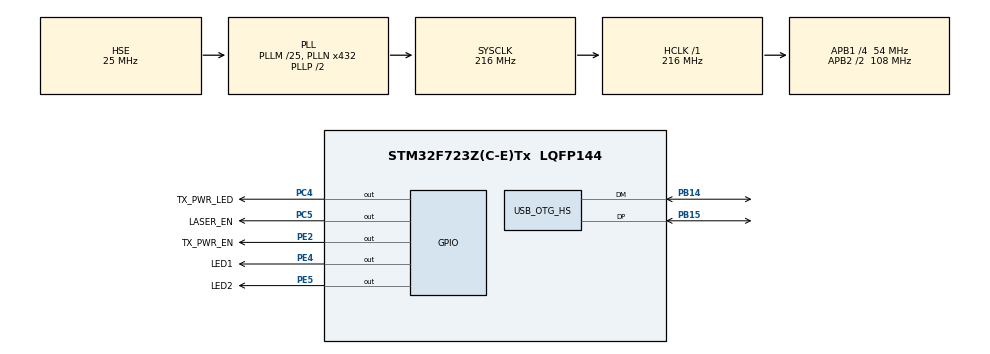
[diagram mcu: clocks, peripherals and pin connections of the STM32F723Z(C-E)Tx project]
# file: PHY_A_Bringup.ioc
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CORTEX_M7.default_mode_Activation=1
Mcu.Family=STM32F7
Mcu.Name=STM32F723Z(C-E)Tx
Mcu.Package=LQFP144
NVIC.OTG_HS_IRQn=true\:0\:0\:false\:false\:true\:true\:true\:true
NVIC.PriorityGroup=NVIC_PRIORITYGROUP_4
PA13.Mode=Serial_Wire
PA13.Signal=SYS_JTMS-SWDIO
PA14.Mode=Serial_Wire
PA14.Signal=SYS_JTCK-SWCLK
PB14.Mode=Internal_Phy_Device
PB14.Signal=USB_OTG_HS_DM
PB15.Mode=Internal_Phy_Device
PB15.Signal=USB_OTG_HS_DP
PC4.GPIO_Label=TX_PWR_LED
PC4.Signal=GPIO_Output
PC5.GPIO_Label=LASER_EN
PC5.Signal=GPIO_Output
PE2.GPIO_Label=TX_PWR_EN
PE2.Signal=GPIO_Output
PE4.GPIO_Label=LED1
PE4.Signal=GPIO_Output
PE5.GPIO_Label=LED2
PE5.Signal=GPIO_Output
PH0-OSC_IN.Mode=HSE-External-Oscillator
PH0-OSC_IN.Signal=RCC_OSC_IN
PH1-OSC_OUT.Mode=HSE-External-Oscillator
PH1-OSC_OUT.Signal=RCC_OSC_OUT
ProjectManager.HeapSize=0x200
ProjectManager.StackSize=0x400
ProjectManager.TargetToolchain=STM32CubeIDE
RCC.AHBFreq_Value=216000000
RCC.APB1CLKDivider=RCC_HCLK_DIV4
RCC.APB1Freq_Value=54000000
RCC.APB1TimFreq_Value=108000000
RCC.APB2CLKDivider=RCC_HCLK_DIV2
RCC.APB2Freq_Value=108000000
RCC.APB2TimFreq_Value=216000000
RCC.CortexFreq_Value=216000000
RCC.HCLKFreq_Value=216000000
RCC.HSE_VALUE=25000000
RCC.HSI_VALUE=16000000
RCC.LSE_VALUE=32768
RCC.PLLM=25
RCC.PLLN=432
RCC.PLLQ=9
RCC.SYSCLKFreq_VALUE=216000000
RCC.SYSCLKSource=RCC_SYSCLKSOURCE_PLLCLK
RCC.USBFreq_Value=48000000
RCC.VCOOutputFreq_Value=432000000
REXTPHYHS.Mode=Internal_Phy_Device
REXTPHYHS.Signal=USB_OTG_HS_REXTPHYHS
USB_DEVICE.CLASS_NAME_HS=CDC
USB_DEVICE.USBD_LPM_ENABLED-CDC_HS=0
USB_DEVICE.USBD_SELF_POWERED-CDC_HS=0
USB_DEVICE.VirtualMode-CDC_HS=Cdc
USB_DEVICE.VirtualModeHS=Cdc_HS
USB_OTG_HS.VirtualMode=Int_Phy_Device
VP_USB_DEVICE_VS_USB_DEVICE_CDC_HS.Mode=CDC_HS
board=custom

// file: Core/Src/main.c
/* USER CODE BEGIN Header */
/**
 ******************************************************************************
 * @file           : main.c
 * @brief          : Main program body
 ******************************************************************************
 * @attention
 *
 * Copyright (c) 2026 STMicroelectronics.
 * All rights reserved.
 *
 * This software is licensed under terms that can be found in the LICENSE file
 * in the root directory of this software component.
 * If no LICENSE file comes with this software, it is provided AS-IS.
 *
 ******************************************************************************
 */
/* USER CODE END Header */
#include "main.h"
#include "usb_device.h"

void SystemClock_Config(void);
static void MPU_Config(void);
static void MX_GPIO_Init(void);

/* USER CODE BEGIN 0 */

volatile uint8_t arm_dryrun_request = 0U; /* 1 = pulse, 2 = force off */
volatile uint8_t optical_tx_active = 0U;
static uint8_t arm_dryrun_active = 0U;
static uint32_t arm_dryrun_started_ms = 0U;
#define ARM_DRYRUN_PULSE_MS 500U

static void ArmDryRun_Off(void)
{
  HAL_GPIO_WritePin(LASER_EN_GPIO_Port, LASER_EN_Pin, GPIO_PIN_RESET);
  arm_dryrun_active = 0U;
}

static uint8_t power_dryrun_active = 0U;
static uint32_t power_dryrun_started_ms = 0U;
#define POWER_DRYRUN_PULSE_MS 5000U

volatile uint8_t dummy_test_active = 0U;
static uint8_t dummy_phase = 0U;
static uint32_t dummy_phase_ms = 0U;
static uint32_t dummy_start_ms = 0U;

static void DummyTest_Off(void)
{
  HAL_GPIO_WritePin(GPIOA, GPIO_PIN_7, GPIO_PIN_RESET);
  HAL_GPIO_WritePin(LED2_GPIO_Port, LED2_Pin, GPIO_PIN_RESET);
  HAL_GPIO_WritePin(LASER_EN_GPIO_Port, LASER_EN_Pin, GPIO_PIN_RESET);
  HAL_GPIO_WritePin(TX_PWR_EN_GPIO_Port, TX_PWR_EN_Pin, GPIO_PIN_RESET);
  HAL_GPIO_WritePin(TX_PWR_LED_GPIO_Port, TX_PWR_LED_Pin, GPIO_PIN_RESET);

  arm_dryrun_active = 0U;
  power_dryrun_active = 0U;
  dummy_phase = 0U;
  dummy_test_active = 0U;
}
static void ArmDryRun_Task(void)
{
  if (optical_tx_active) {
    arm_dryrun_request = 0U;
    return;
}
  uint8_t request;

  __disable_irq();
  request = arm_dryrun_request;
  arm_dryrun_request = 0U;
  __enable_irq();

  uint32_t now = HAL_GetTick();

  /* B6 / B8: software shutdown */
  if (request == 2U || request == 4U) {
    DummyTest_Off();
    return;
  }

  /* Execute the timed dummy-load test */
  if (dummy_test_active) {
    /* Overall timeout */
    if ((uint32_t)(now - dummy_start_ms) >= 1800U) {
      DummyTest_Off();
      return;
    }

    if (dummy_phase == 1U &&
        (uint32_t)(now - dummy_phase_ms) >= 250U) {
      /* Power settled: arm TX-A */
      HAL_GPIO_WritePin(
          LASER_EN_GPIO_Port, LASER_EN_Pin, GPIO_PIN_SET);
      dummy_phase = 2U;
      dummy_phase_ms = now;
    }
    else if (dummy_phase == 2U &&
             (uint32_t)(now - dummy_phase_ms) >= 100U) {
      /* Assert modulation for one second */
      HAL_GPIO_WritePin(GPIOA, GPIO_PIN_7, GPIO_PIN_SET);
      HAL_GPIO_WritePin(
          LED2_GPIO_Port, LED2_Pin, GPIO_PIN_SET);
      dummy_phase = 3U;
      dummy_phase_ms = now;
    }
    else if (dummy_phase == 3U &&
             (uint32_t)(now - dummy_phase_ms) >= 1000U) {
      DummyTest_Off();
    }

    return;
  }

  /* B9: begin single-shot dummy-load test */
  if (request == 5U) {
    arm_dryrun_active = 0U;
    power_dryrun_active = 0U;

    HAL_GPIO_WritePin(
        LASER_EN_GPIO_Port, LASER_EN_Pin, GPIO_PIN_RESET);
    HAL_GPIO_WritePin(GPIOA, GPIO_PIN_7, GPIO_PIN_RESET);
    HAL_GPIO_WritePin(
        LED2_GPIO_Port, LED2_Pin, GPIO_PIN_RESET);

    dummy_test_active = 1U;
    dummy_phase = 1U;
    dummy_phase_ms = now;
    dummy_start_ms = now;

    HAL_GPIO_WritePin(
        TX_PWR_EN_GPIO_Port, TX_PWR_EN_Pin, GPIO_PIN_SET);
    HAL_GPIO_WritePin(
        TX_PWR_LED_GPIO_Port, TX_PWR_LED_Pin, GPIO_PIN_SET);
    return;
  }

  /* B6 or B8: turn both controls off */
  if (request == 2U || request == 4U) {
    power_dryrun_active = 0U;
    ArmDryRun_Off();
  }

  /* B7: start the switched-power test */
  if (request == 3U) {
    ArmDryRun_Off();  // PC5 LOW
    HAL_GPIO_WritePin(GPIOA, GPIO_PIN_7, GPIO_PIN_RESET);

    power_dryrun_started_ms = now;
    power_dryrun_active = 1U;
  }

  /* Automatically end the power pulse */
  if (power_dryrun_active &&
      (uint32_t)(now - power_dryrun_started_ms)
          >= POWER_DRYRUN_PULSE_MS) {
    power_dryrun_active = 0U;
  }

  if (power_dryrun_active) {
    ArmDryRun_Off();
    HAL_GPIO_WritePin(GPIOA, GPIO_PIN_7, GPIO_PIN_RESET);

    HAL_GPIO_WritePin(
        TX_PWR_EN_GPIO_Port, TX_PWR_EN_Pin, GPIO_PIN_SET);
    HAL_GPIO_WritePin(
        TX_PWR_LED_GPIO_Port, TX_PWR_LED_Pin, GPIO_PIN_SET);
    return;
  }

  /* Default: TX power OFF */
  HAL_GPIO_WritePin(
      TX_PWR_EN_GPIO_Port, TX_PWR_EN_Pin, GPIO_PIN_RESET);
  HAL_GPIO_WritePin(
      TX_PWR_LED_GPIO_Port, TX_PWR_LED_Pin, GPIO_PIN_RESET);

  /* Preserve the existing PC5 dry-run command */
  if (request == 1U) {
    arm_dryrun_started_ms = now;
    arm_dryrun_active = 1U;
    HAL_GPIO_WritePin(
        LASER_EN_GPIO_Port, LASER_EN_Pin, GPIO_PIN_SET);
  }

  if (arm_dryrun_active &&
      (uint32_t)(now - arm_dryrun_started_ms)
          >= ARM_DRYRUN_PULSE_MS) {
    ArmDryRun_Off();
  }
}

#define PATTERN_DEMO_BIT_MS 200U
#define PATTERN_DEMO_MAX_BYTES 24U
#define PATTERN_DEMO_MAX_MS (PATTERN_DEMO_MAX_BYTES * 8U * PATTERN_DEMO_BIT_MS + 500U)

extern volatile uint8_t optical_tx_active;
volatile uint8_t pattern_demo_request = 0U; /* 1=HELLO, 2=stop, 3=payload */
volatile uint8_t pattern_demo_pending_len = 0U;
uint8_t pattern_demo_pending[PATTERN_DEMO_MAX_BYTES];

static uint8_t pattern_demo_text[PATTERN_DEMO_MAX_BYTES];
static uint8_t pattern_demo_text_len = 0U;
static uint8_t pattern_demo_active = 0U;
static uint32_t pattern_demo_bit = 0U;
static uint32_t pattern_demo_start_ms = 0U;
static uint32_t pattern_demo_next_ms = 0U;

#define OPTICAL_TX_MAX_BYTES 16U
#define OPTICAL_POWER_SETTLE_MS 250U
#define OPTICAL_ARM_SETTLE_MS 100U
#define OPTICAL_MAX_MS (OPTICAL_POWER_SETTLE_MS + OPTICAL_ARM_SETTLE_MS + \
                        OPTICAL_TX_MAX_BYTES * 8U * PATTERN_DEMO_BIT_MS + 750U)

static uint8_t optical_phase = 0U;
static uint32_t optical_phase_started_ms = 0U;

static void PatternDemo_Stop(void)
{
    /* Data off, then arm off, then power off. */
    HAL_GPIO_WritePin(GPIOA, GPIO_PIN_7, GPIO_PIN_RESET);
    HAL_GPIO_WritePin(LED2_GPIO_Port, LED2_Pin, GPIO_PIN_RESET);
    HAL_GPIO_WritePin(LASER_EN_GPIO_Port, LASER_EN_Pin, GPIO_PIN_RESET);
    HAL_GPIO_WritePin(TX_PWR_EN_GPIO_Port, TX_PWR_EN_Pin, GPIO_PIN_RESET);
    HAL_GPIO_WritePin(TX_PWR_LED_GPIO_Port, TX_PWR_LED_Pin, GPIO_PIN_RESET);

    pattern_demo_active = 0U;
    optical_phase = 0U;
    optical_tx_active = 0U;
}

static void PatternDemo_Task(void)
{
    uint8_t request;
    uint8_t payload_len = 0U;
    uint8_t payload[PATTERN_DEMO_MAX_BYTES];

    __disable_irq();
    request = pattern_demo_request;

    if (request == 3U || request == 4U) {
        payload_len = pattern_demo_pending_len;
        if (payload_len > PATTERN_DEMO_MAX_BYTES)
            payload_len = 0U;

        for (uint8_t i = 0; i < payload_len; ++i)
            payload[i] = pattern_demo_pending[i];
    }

    pattern_demo_request = 0U;
    __enable_irq();

    if (request == 2U) {
        PatternDemo_Stop();
        return;
    }

    /* Never overlap with the older dummy-load test. */
    if (dummy_test_active) {
        if (pattern_demo_active) PatternDemo_Stop();
        return;
    }

    if (request == 1U || request == 3U || request == 4U) {
        if (optical_tx_active) return;

        if (request == 4U &&
            (arm_dryrun_active || power_dryrun_active ||
             payload_len > OPTICAL_TX_MAX_BYTES))
            return;

        PatternDemo_Stop();

        if (request == 1U) {
            const uint8_t hello[] = "HELLO";
            payload_len = sizeof(hello) - 1U;
            for (uint8_t i = 0; i < payload_len; ++i)
                payload[i] = hello[i];
        }

        if (payload_len == 0U) return;

        for (uint8_t i = 0; i < payload_len; ++i)
            pattern_demo_text[i] = payload[i];

        pattern_demo_text_len = payload_len;
        pattern_demo_bit = 0U;
        pattern_demo_start_ms = HAL_GetTick();
        pattern_demo_next_ms = pattern_demo_start_ms;
        pattern_demo_active = 1U;

        if (request == 4U) {
            /* Optical mode: power first, with arm and data LOW. */
            optical_tx_active = 1U;
            optical_phase = 1U;
            optical_phase_started_ms = pattern_demo_start_ms;
            arm_dryrun_request = 0U;

            HAL_GPIO_WritePin(
                TX_PWR_EN_GPIO_Port, TX_PWR_EN_Pin, GPIO_PIN_SET);
            HAL_GPIO_WritePin(
                TX_PWR_LED_GPIO_Port, TX_PWR_LED_Pin, GPIO_PIN_SET);
            return;
        }
    }

    if (!pattern_demo_active) return;

    uint32_t now = HAL_GetTick();

    if (optical_tx_active) {
        if ((uint32_t)(now - pattern_demo_start_ms)
                >= OPTICAL_MAX_MS) {
            PatternDemo_Stop();
            return;
        }

        if (optical_phase == 1U) {
            if ((uint32_t)(now - optical_phase_started_ms)
                    >= OPTICAL_POWER_SETTLE_MS) {
                HAL_GPIO_WritePin(
                    LASER_EN_GPIO_Port, LASER_EN_Pin, GPIO_PIN_SET);
                optical_phase = 2U;
                optical_phase_started_ms = now;
            }
            return;
        }

        if (optical_phase == 2U) {
            if ((uint32_t)(now - optical_phase_started_ms)
                    >= OPTICAL_ARM_SETTLE_MS) {
                optical_phase = 3U;
                pattern_demo_next_ms = now;
            }
            return;
        }

        if (optical_phase != 3U) {
            PatternDemo_Stop();
            return;
        }
    }
    else if ((uint32_t)(now - pattern_demo_start_ms)
                 >= PATTERN_DEMO_MAX_MS) {
        PatternDemo_Stop();
        return;
    }

    if ((int32_t)(now - pattern_demo_next_ms) < 0)
        return;

    if (pattern_demo_bit >=
        (uint32_t)pattern_demo_text_len * 8U) {
        PatternDemo_Stop();
        return;
    }

    uint32_t byte_idx = pattern_demo_bit / 8U;
    uint32_t shift = 7U - (pattern_demo_bit % 8U);

    uint8_t bit = (pattern_demo_text[byte_idx] >> shift) & 1U;
    GPIO_PinState level =
        bit ? GPIO_PIN_SET : GPIO_PIN_RESET;

    HAL_GPIO_WritePin(GPIOA, GPIO_PIN_7, level);
    HAL_GPIO_WritePin(LED2_GPIO_Port, LED2_Pin, level);

    ++pattern_demo_bit;
    pattern_demo_next_ms = now + PATTERN_DEMO_BIT_MS;
}
/* USER CODE END 0 */

int main(void)
{

  /* MPU Configuration--------------------------------------------------------*/
  MPU_Config();

  /* MCU Configuration--------------------------------------------------------*/

  /* Reset of all peripherals, Initializes the Flash interface and the Systick. */
  HAL_Init();

  /* USER CODE BEGIN Init */
  SCB_EnableICache();
  /* USER CODE END Init */

  /* Configure the system clock */
  SystemClock_Config();

  /* Initialize all configured peripherals */
  MX_GPIO_Init();
  MX_USB_DEVICE_Init();
  /* USER CODE BEGIN 2 */

  /* Keep the transmitter disabled until explicitly commanded. */
  HAL_GPIO_WritePin(TX_PWR_EN_GPIO_Port, TX_PWR_EN_Pin, GPIO_PIN_RESET);
  HAL_GPIO_WritePin(TX_PWR_LED_GPIO_Port, TX_PWR_LED_Pin, GPIO_PIN_RESET);
  HAL_GPIO_WritePin(LASER_EN_GPIO_Port, LASER_EN_Pin, GPIO_PIN_RESET);

  /* Firmware-running indicator. */
  HAL_GPIO_WritePin(LED1_GPIO_Port, LED1_Pin, GPIO_PIN_SET);

  /* Ensure demo GPIO is LOW after startup. */
  PatternDemo_Stop();
  ArmDryRun_Off();
  /* USER CODE END 2 */

  /* Infinite loop */
  while (1)
  {

    /* USER CODE BEGIN 3 */
    PatternDemo_Task();
    ArmDryRun_Task();
    /*
       HAL_GPIO_WritePin(TX_PWR_EN_GPIO_Port, TX_PWR_EN_Pin, GPIO_PIN_SET);
       HAL_GPIO_WritePin(TX_PWR_LED_GPIO_Port, TX_PWR_LED_Pin, GPIO_PIN_SET);
       HAL_Delay(2500);

       HAL_GPIO_WritePin(TX_PWR_EN_GPIO_Port, TX_PWR_EN_Pin, GPIO_PIN_RESET);
       HAL_GPIO_WritePin(TX_PWR_LED_GPIO_Port, TX_PWR_LED_Pin, GPIO_PIN_RESET);
       HAL_Delay(2500);
       */
  }
  /* USER CODE END 3 */
}

void SystemClock_Config(void)
{
  RCC_OscInitTypeDef RCC_OscInitStruct = {0};
  RCC_ClkInitTypeDef RCC_ClkInitStruct = {0};

  /** Configure the main internal regulator output voltage
  */
  __HAL_RCC_PWR_CLK_ENABLE();
  __HAL_PWR_VOLTAGESCALING_CONFIG(PWR_REGULATOR_VOLTAGE_SCALE1);

  /** Initializes the RCC Oscillators according to the specified parameters
   * in the RCC_OscInitTypeDef structure.
   */
  RCC_OscInitStruct.OscillatorType = RCC_OSCILLATORTYPE_HSE;
  RCC_OscInitStruct.HSEState = RCC_HSE_ON;
  RCC_OscInitStruct.PLL.PLLState = RCC_PLL_ON;
  RCC_OscInitStruct.PLL.PLLSource = RCC_PLLSOURCE_HSE;
  RCC_OscInitStruct.PLL.PLLM = 25;
  RCC_OscInitStruct.PLL.PLLN = 432;
  RCC_OscInitStruct.PLL.PLLP = RCC_PLLP_DIV2;
  RCC_OscInitStruct.PLL.PLLQ = 9;
  if (HAL_RCC_OscConfig(&RCC_OscInitStruct) != HAL_OK)
  {
    Error_Handler();
  }

  /** Activate the overdrive mode mode (216 MHz)
  */
  if (HAL_PWREx_EnableOverDrive() != HAL_OK)
  {
    Error_Handler();
  }

  /** Initializes the CPU, AHB and APB buses clocks
  */
  RCC_ClkInitStruct.ClockType = RCC_CLOCKTYPE_HCLK|RCC_CLOCKTYPE_SYSCLK
    |RCC_CLOCKTYPE_PCLK1|RCC_CLOCKTYPE_PCLK2;
  RCC_ClkInitStruct.SYSCLKSource = RCC_SYSCLKSOURCE_PLLCLK;
  RCC_ClkInitStruct.AHBCLKDivider = RCC_SYSCLK_DIV1;
  RCC_ClkInitStruct.APB1CLKDivider = RCC_HCLK_DIV4;
  RCC_ClkInitStruct.APB2CLKDivider = RCC_HCLK_DIV2;

  if (HAL_RCC_ClockConfig(&RCC_ClkInitStruct, FLASH_LATENCY_7) != HAL_OK)
  {
    Error_Handler();
  }
}

static void MX_GPIO_Init(void)
{
  GPIO_InitTypeDef GPIO_InitStruct = {0};

  /* GPIO Ports Clock Enable */
  __HAL_RCC_GPIOE_CLK_ENABLE();
  __HAL_RCC_GPIOH_CLK_ENABLE();
  __HAL_RCC_GPIOC_CLK_ENABLE();
  __HAL_RCC_GPIOB_CLK_ENABLE();
  __HAL_RCC_GPIOA_CLK_ENABLE();

  /*Configure GPIO pin Output Level */
  HAL_GPIO_WritePin(GPIOE, TX_PWR_EN_Pin|LED1_Pin|LED2_Pin, GPIO_PIN_RESET);

  /*Configure GPIO pin Output Level */
  HAL_GPIO_WritePin(GPIOC, TX_PWR_LED_Pin|LASER_EN_Pin, GPIO_PIN_RESET);

  /*Configure GPIO pins : TX_PWR_EN_Pin LED1_Pin LED2_Pin */
  GPIO_InitStruct.Pin = TX_PWR_EN_Pin|LED1_Pin|LED2_Pin;
  GPIO_InitStruct.Mode = GPIO_MODE_OUTPUT_PP;
  GPIO_InitStruct.Pull = GPIO_NOPULL;
  GPIO_InitStruct.Speed = GPIO_SPEED_FREQ_LOW;
  HAL_GPIO_Init(GPIOE, &GPIO_InitStruct);

  /*Configure GPIO pins : TX_PWR_LED_Pin LASER_EN_Pin */
  GPIO_InitStruct.Pin = TX_PWR_LED_Pin|LASER_EN_Pin;
  GPIO_InitStruct.Mode = GPIO_MODE_OUTPUT_PP;
  GPIO_InitStruct.Pull = GPIO_NOPULL;
  GPIO_InitStruct.Speed = GPIO_SPEED_FREQ_LOW;
  HAL_GPIO_Init(GPIOC, &GPIO_InitStruct);

  /* USER CODE BEGIN MX_GPIO_Init_2 */

  HAL_GPIO_WritePin(GPIOA, GPIO_PIN_7, GPIO_PIN_RESET);

  GPIO_InitStruct.Pin = GPIO_PIN_7;
  GPIO_InitStruct.Mode = GPIO_MODE_OUTPUT_PP;
  GPIO_InitStruct.Pull = GPIO_NOPULL;
  GPIO_InitStruct.Speed = GPIO_SPEED_FREQ_LOW;
  HAL_GPIO_Init(GPIOA, &GPIO_InitStruct);

  /* USER CODE END MX_GPIO_Init_2 */
}

/* MPU Configuration */

void MPU_Config(void)
{
  MPU_Region_InitTypeDef MPU_InitStruct = {0};

  /* Disables the MPU */
  HAL_MPU_Disable();

  /** Initializes and configures the Region and the memory to be protected
  */
  MPU_InitStruct.Enable = MPU_REGION_ENABLE;
  MPU_InitStruct.Number = MPU_REGION_NUMBER0;
  MPU_InitStruct.BaseAddress = 0x0;
  MPU_InitStruct.Size = MPU_REGION_SIZE_4GB;
  MPU_InitStruct.SubRegionDisable = 0x87;
  MPU_InitStruct.TypeExtField = MPU_TEX_LEVEL0;
  MPU_InitStruct.AccessPermission = MPU_REGION_NO_ACCESS;
  MPU_InitStruct.DisableExec = MPU_INSTRUCTION_ACCESS_DISABLE;
  MPU_InitStruct.IsShareable = MPU_ACCESS_SHAREABLE;
  MPU_InitStruct.IsCacheable = MPU_ACCESS_NOT_CACHEABLE;
  MPU_InitStruct.IsBufferable = MPU_ACCESS_NOT_BUFFERABLE;

  HAL_MPU_ConfigRegion(&MPU_InitStruct);
  /* Enables the MPU */
  HAL_MPU_Enable(MPU_PRIVILEGED_DEFAULT);

}

void Error_Handler(void)
{
  __disable_irq();
  while (1)
  {
  }
}
